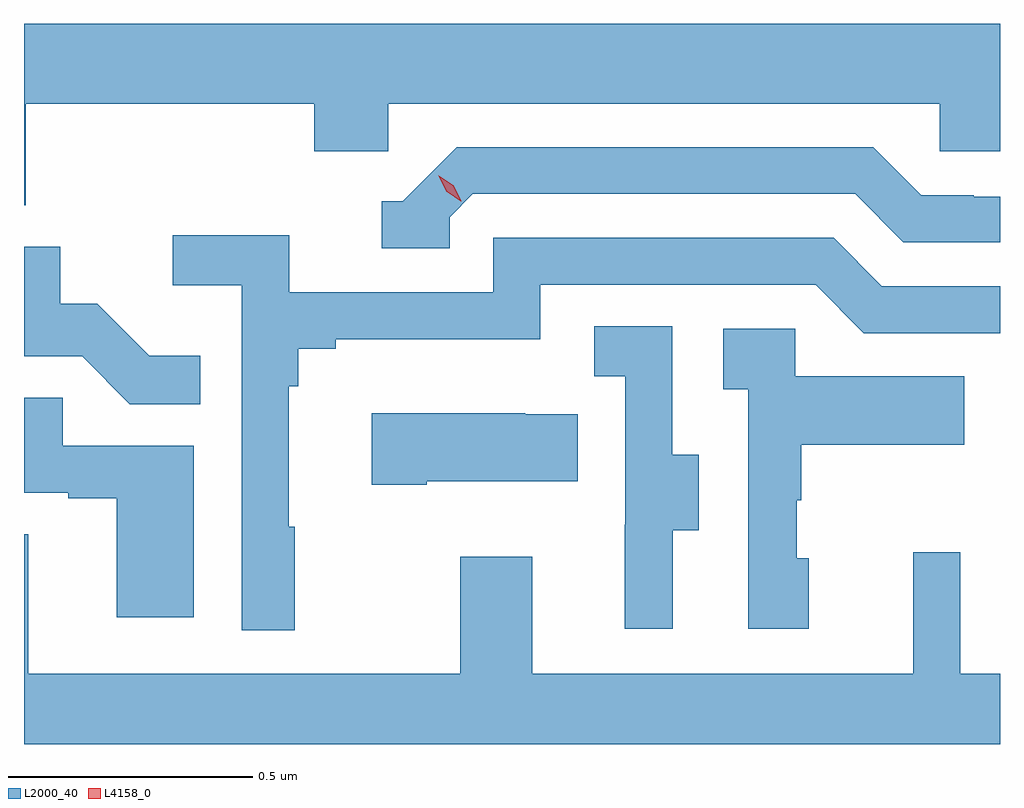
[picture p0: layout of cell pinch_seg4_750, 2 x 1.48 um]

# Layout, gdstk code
import gdstk
lib = gdstk.Library(unit=1e-6, precision=1e-09)
def P(c, l, *ps):  # polygons
    for p in ps: c.add(gdstk.Polygon(p, *l))
L2000_40 = (2000, 40)
L4158_0 = (4158, 0)

pinch_seg4_750 = lib.new_cell('pinch_seg4_750')
P(pinch_seg4_750, L2000_40, [(885.992,823.46),(886.583,823.46),(886.583,823.362),(886.734,823.362),(886.734,823.46),(887.865,823.46),(887.865,823.362),(887.988,823.362),(887.988,823.624),(885.988,823.624),(885.988,823.252),(885.992,823.252)],
  [(886.86,823.227),(886.908,823.275),(887.691,823.275),(887.79,823.176),(887.988,823.176),(887.988,823.269),(887.934,823.269),(887.934,823.272),(887.827,823.272),(887.728,823.371),(886.875,823.371),(886.764,823.26),(886.721,823.26),(886.721,823.164),(886.86,823.164)],
  [(886.543,822.593),(886.531,822.593),(886.531,822.881),(886.55,822.881),(886.55,822.958),(886.627,822.958),(886.627,822.977),(887.046,822.977),(887.046,823.089),(887.61,823.089),(887.709,822.99),(887.988,822.99),(887.988,823.086),(887.746,823.086),(887.647,823.185),(886.95,823.185),(886.95,823.074),(886.532,823.074),(886.532,823.19),(886.293,823.19),(886.293,823.088),(886.434,823.088),(886.434,822.381),(886.543,822.381)],
  [(886.349,822.943),(886.245,822.943),(886.138,823.05),(886.062,823.05),(886.062,823.167),(885.988,823.167),(885.988,822.942),(886.107,822.942),(886.205,822.844),(886.349,822.844)],
  [(887.317,822.586),(887.371,822.586),(887.371,822.741),(887.316,822.741),(887.316,823.004),(887.157,823.004),(887.157,822.901),(887.22,822.901),(887.22,822.597),(887.219,822.597),(887.219,822.384),(887.317,822.384)],
  [(887.596,822.528),(887.571,822.528),(887.571,822.647),(887.581,822.647),(887.581,822.761),(887.915,822.761),(887.915,822.901),(887.568,822.901),(887.568,822.999),(887.421,822.999),(887.421,822.875),(887.472,822.875),(887.472,822.384),(887.596,822.384)],
  [(886.336,822.759),(886.067,822.759),(886.067,822.857),(885.988,822.857),(885.988,822.663),(886.079,822.663),(886.079,822.651),(886.178,822.651),(886.178,822.408),(886.336,822.408)],
  [(886.813,822.686),(887.123,822.686),(887.123,822.823),(887.015,822.823),(887.015,822.826),(886.701,822.826),(886.701,822.679),(886.813,822.679)],
  [(887.988,822.292),(887.907,822.292),(887.907,822.541),(887.81,822.541),(887.81,822.292),(887.029,822.292),(887.029,822.532),(886.882,822.532),(886.882,822.292),(885.997,822.292),(885.997,822.578),(885.988,822.578),(885.988,822.147),(887.988,822.147)])
P(pinch_seg4_750, L4158_0, [(886.883,823.26),(886.853,823.28),(886.837,823.313),(886.837,823.313),(886.837,823.313),(886.868,823.293),(886.884,823.261),(886.884,823.26)])

lib.write_gds('pinch_seg4_750.gds')
